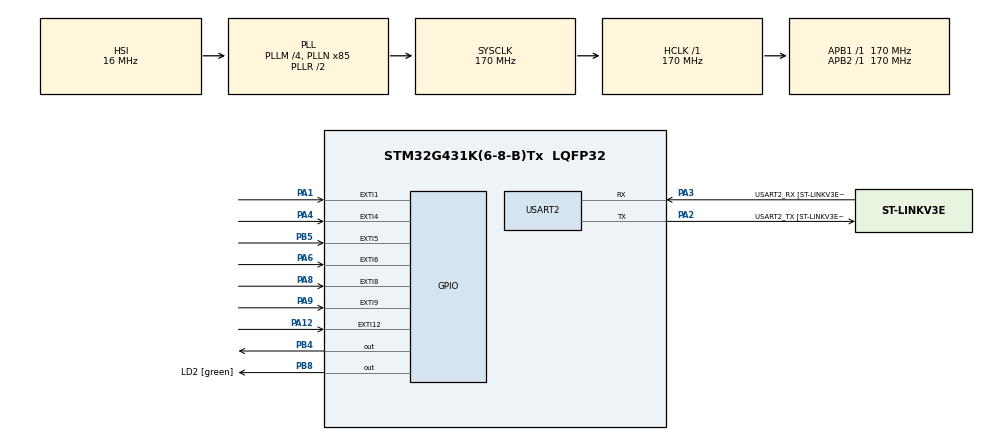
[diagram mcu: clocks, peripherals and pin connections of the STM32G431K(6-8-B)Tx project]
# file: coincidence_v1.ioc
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LPTIM1.ClockPrescaler=LPTIM_PRESCALER_DIV16
Mcu.Family=STM32G4
Mcu.Name=STM32G431K(6-8-B)Tx
Mcu.Package=LQFP32
NVIC.EXTI15_10_IRQn=true\:0\:0\:false\:false\:true\:true\:true\:true
NVIC.EXTI1_IRQn=true\:0\:0\:false\:false\:true\:true\:true\:true
NVIC.EXTI4_IRQn=true\:0\:0\:false\:false\:true\:true\:true\:true
NVIC.EXTI9_5_IRQn=true\:0\:0\:false\:false\:true\:true\:true\:true
NVIC.LPTIM1_IRQn=true\:0\:0\:false\:false\:true\:true\:true\:true
NVIC.PriorityGroup=NVIC_PRIORITYGROUP_4
NVIC.TIM1_UP_TIM16_IRQn=true\:0\:0\:false\:false\:true\:true\:true\:true
NVIC.USART2_IRQn=true\:0\:0\:false\:false\:true\:true\:true\:true
PA1.Signal=GPXTI1
PA12.Signal=GPXTI12
PA13.GPIO_Label=T_SWDIO
PA13.Mode=Serial_Wire
PA13.Signal=SYS_JTMS-SWDIO
PA14.GPIO_Label=T_SWCLK
PA14.Mode=Serial_Wire
PA14.Signal=SYS_JTCK-SWCLK
PA2.GPIO_Label=USART2_TX [ST-LINKV3E_VCP_RX]
PA2.Mode=Asynchronous
PA2.Signal=USART2_TX
PA3.GPIO_Label=USART2_RX [ST-LINKV3E_VCP_TX]
PA3.Mode=Asynchronous
PA3.Signal=USART2_RX
PA4.Signal=GPXTI4
PA6.Signal=GPXTI6
PA8.Signal=GPXTI8
PA9.Signal=GPXTI9
PB3.GPIO_Label=T_SWO
PB3.Signal=SYS_JTDO-SWO
PB4.Signal=GPIO_Output
PB5.Signal=GPXTI5
PB8-BOOT0.GPIO_Label=LD2 [green]
PB8-BOOT0.Signal=GPIO_Output
ProjectManager.HeapSize=0x200
ProjectManager.StackSize=0x400
ProjectManager.TargetToolchain=STM32CubeIDE
RCC.ADC12Freq_Value=170000000
RCC.AHBFreq_Value=170000000
RCC.APB1Freq_Value=170000000
RCC.APB1TimFreq_Value=170000000
RCC.APB2Freq_Value=170000000
RCC.APB2TimFreq_Value=170000000
RCC.CortexFreq_Value=170000000
RCC.EXTERNAL_CLOCK_VALUE=12288000
RCC.HCLKFreq_Value=170000000
RCC.HSE_VALUE=8000000
RCC.HSI48_VALUE=48000000
RCC.HSI_VALUE=16000000
RCC.LSE_VALUE=32768
RCC.PLLM=RCC_PLLM_DIV4
RCC.PLLN=85
RCC.SYSCLKFreq_VALUE=170000000
RCC.SYSCLKSource=RCC_SYSCLKSOURCE_PLLCLK
RCC.USBFreq_Value=170000000
RCC.VCOOutputFreq_Value=340000000
TIM16.ClockDivision=TIM_CLOCKDIVISION_DIV4
TIM16.Prescaler=2615
USART2.VirtualMode-Asynchronous=VM_ASYNC
USART2.WordLength=WORDLENGTH_8B
VP_LPTIM1_VS_LPTIM_counterModeInternalClock.Mode=Counts__internal_clock_event_00
VP_SYS_VS_DBSignals.Mode=DisableDeadBatterySignals
VP_TIM16_VS_ClockSourceINT.Mode=Enable_Timer
board=NUCLEO-G431KB

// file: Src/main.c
/* USER CODE BEGIN Header */
/**
  ******************************************************************************
  * @file           : main.c
  * @brief          : Main program body
  ******************************************************************************
  * @attention
  *
  * Copyright (c) 2025 STMicroelectronics.
  * All rights reserved.
  *
  * This software is licensed under terms that can be found in the LICENSE file
  * in the root directory of this software component.
  * If no LICENSE file comes with this software, it is provided AS-IS.
  *
  ******************************************************************************
  */
/* USER CODE END Header */
#include "main.h"
#include "lptim.h"
#include "tim.h"
#include "usart.h"
#include "gpio.h"

/* USER CODE BEGIN Includes */
#include <stdbool.h>
#include <stdio.h>
#include <string.h>

/* USER CODE END Includes */

/* USER CODE BEGIN PV */
char 		txBuffer[20] = {0};
int			a_counter = 0, a_counter_save = 0;
int			b_counter = 0, b_counter_save = 0;
int			c_counter = 0, c_counter_save = 0;
int			ab_counter = 0, ab_counter_save = 0;
int			ac_counter = 0, ac_counter_save = 0;
int			bc_counter = 0, bc_counter_save = 0;
int			abc_counter = 0, abc_counter_save = 0;

/*Configure GPIO pins : PA4 PA5 PA6 PA7
                         PA8 PA9 PA10 PA11 */

/* USER CODE END PV */

void SystemClock_Config(void);

int main(void)
{

  /* MCU Configuration--------------------------------------------------------*/

  /* Reset of all peripherals, Initializes the Flash interface and the Systick. */
  HAL_Init();

  /* Configure the system clock */
  SystemClock_Config();

  /* Initialize all configured peripherals */
  MX_GPIO_Init();
  MX_USART2_UART_Init();
  MX_LPTIM1_Init();
  MX_TIM16_Init();
  /* USER CODE BEGIN 2 */
  // TIM16 - 16 bits Timer / Period = (PSC+1)(ARR+1) / 170MHz  (??)  ARR = 2^16
  // For PSC = 2615 -> T = 1000ms

  // Init
  txBuffer[0] = 'Z';
  txBuffer[1] = '\r';
  txBuffer[2] = '\n';
  txBuffer[3] = '\0';

  // Start TIM16 timer
  HAL_TIM_Base_Start_IT(&htim16);
  /* USER CODE END 2 */

  /* Infinite loop */
  /* USER CODE BEGIN WHILE */
  while (1)
  {
	//HAL_UART_Transmit(&huart2, txBuffer, 4, 1000);
	//HAL_Delay(100);

    /* USER CODE END WHILE */

  }
}

void SystemClock_Config(void)
{
  RCC_OscInitTypeDef RCC_OscInitStruct = {0};
  RCC_ClkInitTypeDef RCC_ClkInitStruct = {0};

  /** Configure the main internal regulator output voltage
  */
  HAL_PWREx_ControlVoltageScaling(PWR_REGULATOR_VOLTAGE_SCALE1_BOOST);

  /** Initializes the RCC Oscillators according to the specified parameters
  * in the RCC_OscInitTypeDef structure.
  */
  RCC_OscInitStruct.OscillatorType = RCC_OSCILLATORTYPE_HSI;
  RCC_OscInitStruct.HSIState = RCC_HSI_ON;
  RCC_OscInitStruct.HSICalibrationValue = RCC_HSICALIBRATION_DEFAULT;
  RCC_OscInitStruct.PLL.PLLState = RCC_PLL_ON;
  RCC_OscInitStruct.PLL.PLLSource = RCC_PLLSOURCE_HSI;
  RCC_OscInitStruct.PLL.PLLM = RCC_PLLM_DIV4;
  RCC_OscInitStruct.PLL.PLLN = 85;
  RCC_OscInitStruct.PLL.PLLP = RCC_PLLP_DIV2;
  RCC_OscInitStruct.PLL.PLLQ = RCC_PLLQ_DIV2;
  RCC_OscInitStruct.PLL.PLLR = RCC_PLLR_DIV2;
  if (HAL_RCC_OscConfig(&RCC_OscInitStruct) != HAL_OK)
  {
    Error_Handler();
  }

  /** Initializes the CPU, AHB and APB buses clocks
  */
  RCC_ClkInitStruct.ClockType = RCC_CLOCKTYPE_HCLK|RCC_CLOCKTYPE_SYSCLK
                              |RCC_CLOCKTYPE_PCLK1|RCC_CLOCKTYPE_PCLK2;
  RCC_ClkInitStruct.SYSCLKSource = RCC_SYSCLKSOURCE_PLLCLK;
  RCC_ClkInitStruct.AHBCLKDivider = RCC_SYSCLK_DIV1;
  RCC_ClkInitStruct.APB1CLKDivider = RCC_HCLK_DIV1;
  RCC_ClkInitStruct.APB2CLKDivider = RCC_HCLK_DIV1;

  if (HAL_RCC_ClockConfig(&RCC_ClkInitStruct, FLASH_LATENCY_4) != HAL_OK)
  {
    Error_Handler();
  }
}

/* USER CODE BEGIN 4 */
// Interrupt on EXTI - PA4, PA5...
void HAL_GPIO_EXTI_Callback(uint16_t GPIO_Pin)
{
    if(GPIO_Pin == GPIO_PIN_1) // If The INT Source Is EXTI Line1 (A1 Pin)
    {
    	a_counter++;
    }
    if(GPIO_Pin == GPIO_PIN_4) // If The INT Source Is EXTI Line4 (A4 Pin)
    {
    	b_counter++;
    }
    if(GPIO_Pin == GPIO_PIN_6) // If The INT Source Is EXTI Line6 (A6 Pin)
    {
    	c_counter++;
    }
    if(GPIO_Pin == GPIO_PIN_8) // If The INT Source Is EXTI Line8 (A8 Pin)
    {
    	ab_counter++;
    }
    if(GPIO_Pin == GPIO_PIN_9) // If The INT Source Is EXTI Line9 (A9 Pin)
    {
    	abc_counter++;
    }
    if(GPIO_Pin == GPIO_PIN_12) // If The INT Source Is EXTI Line12 (A12 Pin)
    {
    	bc_counter++;
    }
    if(GPIO_Pin == GPIO_PIN_5) // If The INT Source Is EXTI Line5 (PB5 Pin)
    {
    	ac_counter++;
    }
}

// Interrupt on TIM - TIM16
void HAL_TIM_PeriodElapsedCallback(TIM_HandleTypeDef* htim)
{
    HAL_GPIO_WritePin(GPIOB, GPIO_PIN_4, GPIO_PIN_SET);
    a_counter_save = a_counter;
    a_counter = 0;
    b_counter_save = b_counter;
    b_counter = 0;
    c_counter_save = c_counter;
    c_counter = 0;
    ab_counter_save = ab_counter;
    ab_counter = 0;
    ac_counter_save = ac_counter;
    ac_counter = 0;
    bc_counter_save = bc_counter;
    bc_counter = 0;
    abc_counter_save = abc_counter;
    abc_counter = 0;
	sprintf(txBuffer, "A=%d\n", a_counter_save+1);
    HAL_UART_Transmit(&huart2, (uint8_t *)txBuffer, strlen(txBuffer), 1000);
	sprintf(txBuffer, "B=%d\n", b_counter_save+1);
    HAL_UART_Transmit(&huart2, (uint8_t *)txBuffer, strlen(txBuffer), 1000);
	sprintf(txBuffer, "C=%d\n", c_counter_save+1);
    HAL_UART_Transmit(&huart2, (uint8_t *)txBuffer, strlen(txBuffer), 1000);
	sprintf(txBuffer, "AB=%d\n", ab_counter_save+1);
    HAL_UART_Transmit(&huart2, (uint8_t *)txBuffer, strlen(txBuffer), 1000);
	sprintf(txBuffer, "AC=%d\n", ac_counter_save+1);
    HAL_UART_Transmit(&huart2, (uint8_t *)txBuffer, strlen(txBuffer), 1000);
	sprintf(txBuffer, "BC=%d\n", bc_counter_save+1);
    HAL_UART_Transmit(&huart2, (uint8_t *)txBuffer, strlen(txBuffer), 1000);
	sprintf(txBuffer, "ABC=%d\n", abc_counter_save+1);
    HAL_UART_Transmit(&huart2, (uint8_t *)txBuffer, strlen(txBuffer), 1000);
    HAL_GPIO_WritePin(GPIOB, GPIO_PIN_4, GPIO_PIN_RESET);
}
/* USER CODE END 4 */

void Error_Handler(void)
{
  __disable_irq();
  while (1)
  {
  }
}
